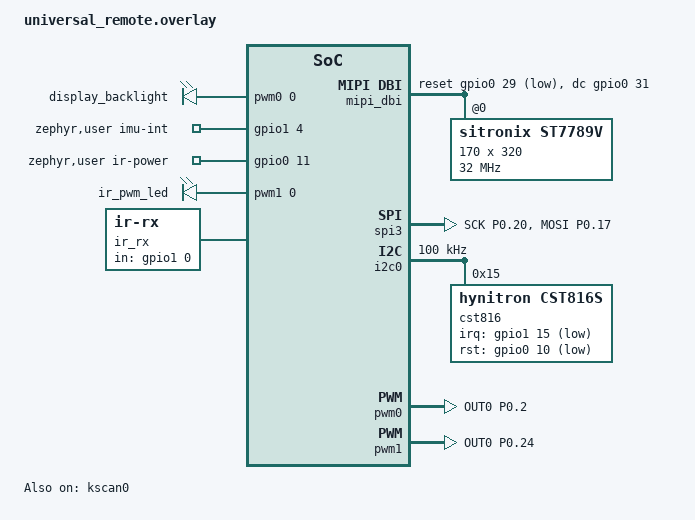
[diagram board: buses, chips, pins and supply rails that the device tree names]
#include <zephyr/dt-bindings/mipi_dbi/mipi_dbi.h>
#include <zephyr/dt-bindings/pwm/pwm.h>
#include <dt-bindings/dt-lvgl/dt-lvgl.h>
#include "universal_remote.dtsi"
#include "universal_remote_ui.dtsi"

/ {
    chosen {
        zephyr,display = &st7789v;
        zmk,backlight = &backlight;
    };

    // Waveshare 1.9" Touch LCD: ST7789V2, 170x320 panel at column offset 35.
    mipi_dbi {
        compatible = "zephyr,mipi-dbi-spi";
        spi-dev = <&spi3>;
        dc-gpios = <&gpio0 31 GPIO_ACTIVE_HIGH>;
        reset-gpios = <&gpio0 29 GPIO_ACTIVE_LOW>;
        write-only;
        #address-cells = <1>;
        #size-cells = <0>;

        st7789v: st7789v@0 {
            compatible = "sitronix,st7789v";
            reg = <0>;
            // SPIM3 maximum. Lower it (16 MHz, 8 MHz) if the image shows corruption.
            mipi-max-frequency = <32000000>;
            mipi-mode = "MIPI_DBI_MODE_SPI_4WIRE";
            width = <170>;
            height = <320>;
            x-offset = <35>;
            y-offset = <0>;
            porch-param = [0c 0c 00 33 33];
            gctrl = <0x35>;
            vcom = <0x28>;
            lcm = <0x0c>;
            vrhs = <0x10>;
            vdvs = <0x20>;
            pwctrl1-param = [a4 a1];
            pvgam-param = [d0 00 02 07 0a 28 32 44 42 06 0e 12 14 17];
            nvgam-param = [d0 00 02 07 0a 28 31 54 47 0e 1c 17 1b 1e];
            // BGR panel, no rotation.
            mdac = <0x08>;
            colmod = <0x55>;
            gamma = <0x01>;
            ram-param = [00 f8];
            rgb-param = [cd 08 14];
            cmd2en-param = [5a 69 02 01];
        };
    };

    lvgl_pointer {
        compatible = "zephyr,lvgl-pointer-input";
        input = <&cst816>;
    };

    backlight: pwmleds {
        compatible = "pwm-leds";

        // Active-low backlight enable, driven at 1 kHz.
        display_backlight: display_backlight {
            pwms = <&pwm0 0 PWM_MSEC(1) PWM_POLARITY_INVERTED>;
        };
    };

    zephyr,user {
        // MPU6050 INT
        imu-int-gpios = <&gpio1 4 (GPIO_ACTIVE_HIGH | GPIO_PULL_DOWN)>;

        // IR receiver supply, on only while learning (src/ir_rx_enable.c)
        ir-power-gpios = <&gpio0 11 GPIO_ACTIVE_HIGH>;
    };

    // IR LEDs
    ir_pwm: ir_pwm {
        compatible = "pwm-leds";

        ir_pwm_led: ir_pwm_led {
            pwms = <&pwm1 0 PWM_NSEC(26316) PWM_POLARITY_NORMAL>;
        };
    };

    aliases {
        irpwm = &ir_pwm_led;
    };

    behaviors {
        ir_tx: ir_tx {
            compatible = "zmk,behavior-ir-tx";
            #binding-cells = <2>;
        };
    };

    // TSOP38238, active low. zmk-ir wants the raw level, so ACTIVE_HIGH.
    ir_rx: ir_rx {
        compatible = "zmk,ir-rx";
        in-gpios = <&gpio1 0 GPIO_ACTIVE_HIGH>;
    };
};

// Diodes point from rows to columns, so the rows drive and the columns read.
&kscan0 {
    diode-direction = "row2col";
    wakeup-source;
    row-gpios = <&gpio1 2 GPIO_ACTIVE_HIGH>,  // SW1, SW5, SW9
                <&gpio1 11 GPIO_ACTIVE_HIGH>, // SW2, SW6, SW10
                <&gpio1 6 GPIO_ACTIVE_HIGH>,  // SW3, SW7, SW11
                <&gpio0 9 GPIO_ACTIVE_HIGH>;  // SW4, SW8
    col-gpios = <&gpio1 7 (GPIO_ACTIVE_HIGH | GPIO_PULL_DOWN)>,  // D1-D4
                <&gpio1 13 (GPIO_ACTIVE_HIGH | GPIO_PULL_DOWN)>, // D5-D8
                <&gpio1 1 (GPIO_ACTIVE_HIGH | GPIO_PULL_DOWN)>;  // D9-D11
    status = "okay";
};

// P0.09 and P0.10 are NFC pins by default.
&uicr {
    nfct-pins-as-gpios;
};

&pinctrl {
    // SPIM3 is the only nRF52840 SPI master above 8 MHz. Its 32 MHz clock needs high-drive outputs.
    spi3_default: spi3_default {
        group1 {
            psels = <NRF_PSEL(SPIM_SCK, 0, 20)>,
                    <NRF_PSEL(SPIM_MOSI, 0, 17)>;
            nordic,drive-mode = <NRF_DRIVE_H0H1>;
        };
    };
    spi3_sleep: spi3_sleep {
        group1 {
            psels = <NRF_PSEL(SPIM_SCK, 0, 20)>,
                    <NRF_PSEL(SPIM_MOSI, 0, 17)>;
            low-power-enable;
        };
    };

    i2c0_default: i2c0_default {
        group1 {
            psels = <NRF_PSEL(TWIM_SDA, 0, 6)>,
                    <NRF_PSEL(TWIM_SCL, 0, 8)>;
        };
    };
    i2c0_sleep: i2c0_sleep {
        group1 {
            psels = <NRF_PSEL(TWIM_SDA, 0, 6)>,
                    <NRF_PSEL(TWIM_SCL, 0, 8)>;
            low-power-enable;
        };
    };

    pwm0_default: pwm0_default {
        group1 {
            psels = <NRF_PSEL(PWM_OUT0, 0, 2)>;
            nordic,invert;
        };
    };
    // VCC is off while asleep, so driving the pin high would power the
    // display through it. src/sleep.c makes ZMK suspend the PWM only after
    // it cuts VCC, so the pin still holds the backlight off until then.
    pwm0_sleep: pwm0_sleep {
        group1 {
            psels = <NRF_PSEL(PWM_OUT0, 0, 2)>;
            low-power-enable;
        };
    };

    pwm1_default: pwm1_default {
        group1 {
            psels = <NRF_PSEL(PWM_OUT0, 0, 24)>;
        };
    };
    pwm1_sleep: pwm1_sleep {
        group1 {
            psels = <NRF_PSEL(PWM_OUT0, 0, 24)>;
            low-power-enable;
        };
    };
};

&spi3 {
    compatible = "nordic,nrf-spim";
    status = "okay";
    pinctrl-0 = <&spi3_default>;
    pinctrl-1 = <&spi3_sleep>;
    pinctrl-names = "default", "sleep";
    cs-gpios = <&gpio0 22 GPIO_ACTIVE_LOW>;
};

&i2c0 {
    status = "okay";
    clock-frequency = <I2C_BITRATE_STANDARD>;

    cst816: cst816@15 {
        compatible = "hynitron,cst816s";
        reg = <0x15>;
        irq-gpios = <&gpio1 15 GPIO_ACTIVE_LOW>;
        rst-gpios = <&gpio0 10 GPIO_ACTIVE_LOW>;
    };
};

&pwm0 {
    status = "okay";
    pinctrl-0 = <&pwm0_default>;
    pinctrl-1 = <&pwm0_sleep>;
    pinctrl-names = "default", "sleep";
};

&pwm1 {
    status = "okay";
    pinctrl-0 = <&pwm1_default>;
    pinctrl-1 = <&pwm1_sleep>;
    pinctrl-names = "default", "sleep";
};
